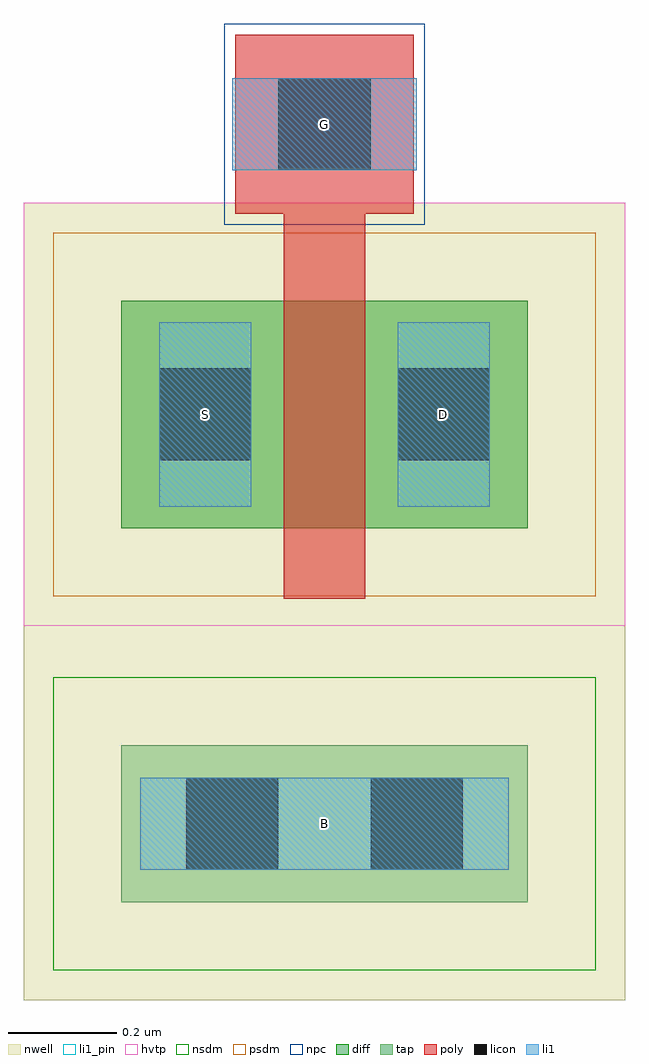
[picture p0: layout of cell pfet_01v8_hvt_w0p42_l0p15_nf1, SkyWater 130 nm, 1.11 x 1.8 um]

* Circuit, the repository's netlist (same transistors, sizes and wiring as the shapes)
.SUBCKT pfet_01v8_hvt_w0p42_l0p15_nf1 D G S B
M0 D G S B pfet_01v8_hvt w=0.42 l=0.15
.ENDS

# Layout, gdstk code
import gdstk
lib = gdstk.Library(unit=1e-6, precision=1e-09)
def R(c, l, rs):  # rectangles x0, y0, x1, y1
    for r in rs: c.add(gdstk.rectangle(r[:2], r[2:], *l))
nwell = (64, 20)
diff = (65, 20)
tap = (65, 44)
poly = (66, 20)
licon = (66, 44)
li1_pin = (67, 16)
li1 = (67, 20)
hvtp = (78, 44)
nsdm = (93, 44)
psdm = (94, 20)
npc = (95, 20)

pfet_01v8_hvt_w0p42_l0p1 = lib.new_cell('pfet_01v8_hvt_w0p42_l0p15_nf1')
R(pfet_01v8_hvt_w0p42_l0p1, nwell, [(-0.18,-0.87,0.93,0.6)])
R(pfet_01v8_hvt_w0p42_l0p1, diff, [(0,0,0.75,0.42)])
R(pfet_01v8_hvt_w0p42_l0p1, tap, [(0,-0.69,0.75,-0.4)])
R(pfet_01v8_hvt_w0p42_l0p1, poly, [(0.3,-0.13,0.45,0.58), (0.21,0.58,0.54,0.91)])
R(pfet_01v8_hvt_w0p42_l0p1, licon, [(0.12,-0.63,0.29,-0.46), (0.46,-0.63,0.63,-0.46), (0.07,0.125,0.24,0.295), (0.51,0.125,0.68,0.295), (0.29,0.66,0.46,0.83)])
R(pfet_01v8_hvt_w0p42_l0p1, li1_pin, [(0.37,-0.55,0.38,-0.54), (0.15,0.205,0.16,0.215), (0.59,0.205,0.6,0.215), (0.37,0.74,0.38,0.75)])
R(pfet_01v8_hvt_w0p42_l0p1, li1, [(0.035,-0.63,0.715,-0.46), (0.07,0.04,0.24,0.38), (0.51,0.04,0.68,0.38), (0.205,0.66,0.545,0.83)])
R(pfet_01v8_hvt_w0p42_l0p1, hvtp, [(-0.18,-0.18,0.93,0.6)])
R(pfet_01v8_hvt_w0p42_l0p1, nsdm, [(-0.125,-0.815,0.875,-0.275)])
R(pfet_01v8_hvt_w0p42_l0p1, psdm, [(-0.125,-0.125,0.875,0.545)])
R(pfet_01v8_hvt_w0p42_l0p1, npc, [(0.19,0.56,0.56,0.93)])
pfet_01v8_hvt_w0p42_l0p1.add(gdstk.Label('G', (0.375,0.745), layer=67, texttype=5))
pfet_01v8_hvt_w0p42_l0p1.add(gdstk.Label('B', (0.375,-0.545), layer=67, texttype=5))
pfet_01v8_hvt_w0p42_l0p1.add(gdstk.Label('S', (0.155,0.21), layer=67, texttype=5))
pfet_01v8_hvt_w0p42_l0p1.add(gdstk.Label('D', (0.595,0.21), layer=67, texttype=5))

lib.write_gds('pfet_01v8_hvt_w0p42_l0p15_nf1.gds')
